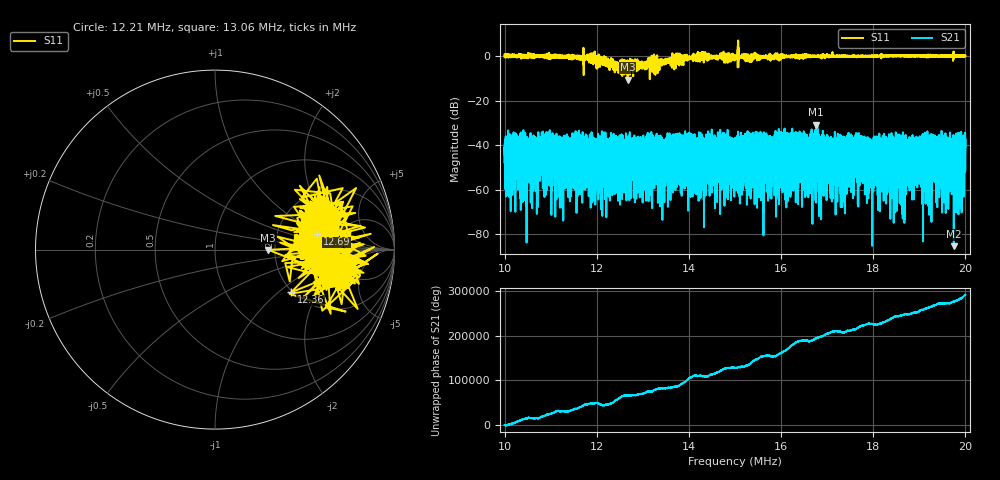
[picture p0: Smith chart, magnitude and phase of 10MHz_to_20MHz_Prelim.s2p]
# HZ S RI R 50
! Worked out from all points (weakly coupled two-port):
!   20200 points, 10 MHz to 20 MHz, reference 50 ohm
!   highest |S21| = -30.78 dB at 16.76 MHz (marker M1); lowest = -85.5 dB at 19.75 MHz (marker M2)
!   lowest |S11| = -10.5 dB at 12.67 MHz (marker M3), VSWR 1.84, Z = 92.2 - j0.301 ohm
!   |S11| at or under -10 dB: 12.66999 MHz to 12.67006 MHz (67.53 Hz wide, 0.000533 % of centre); 13.14965 MHz to 13.14971 MHz (53.17 Hz wide, 0.000404 % of centre)
!   S12 and S22 are empty: the file has one direction only
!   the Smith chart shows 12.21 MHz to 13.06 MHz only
!   S11 on the Smith chart (normalised r, x): 12.21 MHz: 5.99, -1.77; 12.36 MHz: 1.97, -1.23; 12.69 MHz: 3.45, +0.88; 13.06 MHz: 2.42, +2.01
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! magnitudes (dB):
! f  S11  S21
! 10 MHz  -0.5  -41.1
! 10.56 MHz  0.6  -52.3
! 10.95 MHz  0.1  -40.3
! 11.23 MHz  -0.1  -44.4
! 11.67 MHz  -0.9  -38.8
! 12.21 MHz  -2.7  -47.8
! 12.36 MHz  -6.3  -46.2
! 12.67 MHz  -10.5  -52.6
! 12.69 MHz  -4.8  -43.4
! 13.06 MHz  -4.1  -43.7
! 13.33 MHz  -2.8  -43.4
! 13.96 MHz  -0.8  -45.1
! 14.16 MHz  -0.5  -39.1
! 15 MHz  -1.2  -53.0
! 15.75 MHz  -0.5  -57.3
! 16.25 MHz  -0.1  -45.3
! 16.67 MHz  0.0  -47.7
! 16.76 MHz  0.0  -30.8
! 17.21 MHz  0.0  -38.9
! 18.33 MHz  0.0  -42.7
! 19.75 MHz  1.2  -85.5
! 20 MHz  0.0  -40.8
